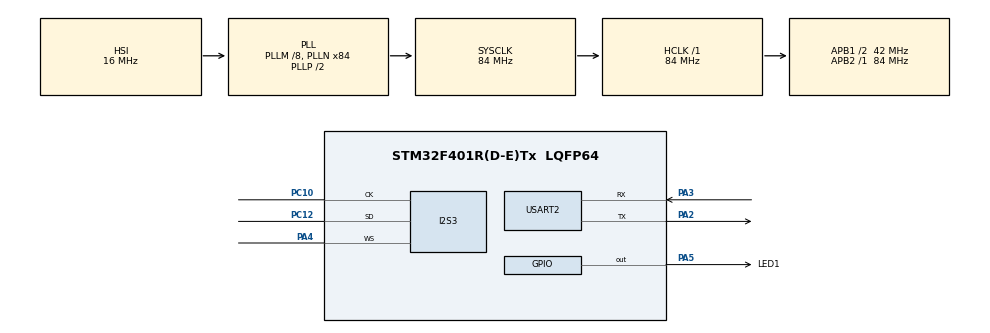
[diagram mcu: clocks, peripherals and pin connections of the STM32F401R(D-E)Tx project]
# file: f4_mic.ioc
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Dma.Request0=SPI3_RX
Dma.SPI3_RX.0.Direction=DMA_PERIPH_TO_MEMORY
Dma.SPI3_RX.0.FIFOMode=DMA_FIFOMODE_DISABLE
Dma.SPI3_RX.0.Instance=DMA1_Stream0
Dma.SPI3_RX.0.MemDataAlignment=DMA_MDATAALIGN_HALFWORD
Dma.SPI3_RX.0.MemInc=DMA_MINC_ENABLE
Dma.SPI3_RX.0.Mode=DMA_CIRCULAR
Dma.SPI3_RX.0.PeriphDataAlignment=DMA_PDATAALIGN_HALFWORD
Dma.SPI3_RX.0.PeriphInc=DMA_PINC_DISABLE
Dma.SPI3_RX.0.Priority=DMA_PRIORITY_LOW
I2S3.AudioFreq=I2S_AUDIOFREQ_48K
I2S3.CPOL=I2S_CPOL_LOW
I2S3.DataFormat=I2S_DATAFORMAT_24B
I2S3.ErrorAudioFreq=1.72 %
I2S3.FullDuplexMode=I2S_FULLDUPLEXMODE_DISABLE
I2S3.Instance=SPI$Index
I2S3.Mode=I2S_MODE_MASTER_RX
I2S3.RealAudioFreq=48.828 KHz
I2S3.Standard=I2S_STANDARD_PHILIPS
I2S3.VirtualMode=I2S_MODE_MASTER
Mcu.Family=STM32F4
Mcu.Name=STM32F401R(D-E)Tx
Mcu.Package=LQFP64
Mcu.UserConstants=PRINT_UART,$$_USART2_IP_HANDLE_$$
NVIC.DMA1_Stream0_IRQn=true\:0\:0\:false\:false\:true\:false\:true\:true
NVIC.PriorityGroup=NVIC_PRIORITYGROUP_4
PA13.Signal=SYS_JTMS-SWDIO
PA14.Signal=SYS_JTCK-SWCLK
PA2.Mode=Asynchronous
PA2.Signal=USART2_TX
PA3.Mode=Asynchronous
PA3.Signal=USART2_RX
PA4.Mode=Half_Duplex_Master
PA4.Signal=I2S3_WS
PA5.GPIO_Label=LED1
PA5.Signal=GPIO_Output
PC10.Mode=Half_Duplex_Master
PC10.Signal=I2S3_CK
PC12.Mode=Half_Duplex_Master
PC12.Signal=I2S3_SD
ProjectManager.HeapSize=0x200
ProjectManager.StackSize=0x400
ProjectManager.TargetToolchain=STM32CubeIDE
RCC.48MHZClocksFreq_Value=42000000
RCC.AHBFreq_Value=84000000
RCC.APB1CLKDivider=RCC_HCLK_DIV2
RCC.APB1Freq_Value=42000000
RCC.APB1TimFreq_Value=84000000
RCC.APB2Freq_Value=84000000
RCC.APB2TimFreq_Value=84000000
RCC.CortexFreq_Value=84000000
RCC.HCLKFreq_Value=84000000
RCC.HSE_VALUE=25000000
RCC.HSI_VALUE=16000000
RCC.LSE_VALUE=32768
RCC.PLLI2SN=50
RCC.PLLM=8
RCC.PLLN=84
RCC.SYSCLKFreq_VALUE=84000000
RCC.SYSCLKSource=RCC_SYSCLKSOURCE_PLLCLK
RCC.VCOOutputFreq_Value=168000000
USART2.VirtualMode=VM_ASYNC
VP_CRC_VS_CRC.Mode=CRC_Activate
board=custom

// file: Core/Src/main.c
/* USER CODE BEGIN Header */
/**
  ******************************************************************************
  * @file           : main.c
  * @brief          : Main program body
  ******************************************************************************
  * @attention
  *
  * Copyright (c) 2026 STMicroelectronics.
  * All rights reserved.
  *
  * This software is licensed under terms that can be found in the LICENSE file
  * in the root directory of this software component.
  * If no LICENSE file comes with this software, it is provided AS-IS.
  *
  ******************************************************************************
  */
/* USER CODE END Header */
#include "main.h"

/* USER CODE BEGIN Includes */
#include <stdio.h>
#include <string.h>
#include <stdbool.h>
#include "arm_math.h"
#include "hanning.h"
/* USER CODE END Includes */

/* USER CODE BEGIN PD */
#define ARM_MATH_CM4

#define DOUBLE_BUFFER_SIZE 8192
#define HALF_DOUBLE_BUFFER_SIZE DOUBLE_BUFFER_SIZE/2
#define FFT_SIZE  DOUBLE_BUFFER_SIZE/4 //2048
#define HALF_FFT_SIZE FFT_SIZE/2
#define SAMPLING_RATE 48828//48000

#define INT16_TO_FLOAT (1.0f / (32768.0f))
#define FLOAT_TO_INT16 (32768.0f)
#define INT24_TO_FLOAT (1.0f / (8388608.0f))
#define FLOAT_TO_INT24 (8388608.0f)
#define INT32_TO_FLOAT (1.0f / (21474836480.0f))
#define FLOAT_TO_INT32 (2147483648.0f)

//#define USE_FLOAT32
#if !defined(USE_FLOAT32)
#define USE_Q31
#endif

/* USER CODE END PD */

/* USER CODE BEGIN PM */
#ifdef __GNUC__
#define PUTCHAR_PROTOTYPE int __io_putchar(int ch)
#else
#define PUTCHAR_PROTOTYPE int fputc(int ch, FILE *f)
#endif
/* USER CODE END PM */

CRC_HandleTypeDef hcrc;

I2S_HandleTypeDef hi2s3;
DMA_HandleTypeDef hdma_spi3_rx;

UART_HandleTypeDef huart2;

/* USER CODE BEGIN PV */
uint16_t mic_data[DOUBLE_BUFFER_SIZE];
static volatile uint16_t * buf_ptr = &mic_data[0];

volatile bool data_ready_flag = false;
volatile bool buffer_filled = false;
volatile bool fft_done = false;

arm_rfft_fast_instance_f32 hfft;
uint8_t     ifft_flag                = 0;
const float  frequency_resolution    = (float)SAMPLING_RATE / (float)FFT_SIZE;

float fft_in[FFT_SIZE];
float fft_out[FFT_SIZE];
float fft_power[HALF_FFT_SIZE];
float fft_window[FFT_SIZE];
float fft_show[FFT_SIZE] = {0};

float32_t   maxValue;
uint32_t    maxIndex;
/* USER CODE END PV */

void SystemClock_Config(void);
static void MX_GPIO_Init(void);
static void MX_DMA_Init(void);
static void MX_I2S3_Init(void);
static void MX_USART2_UART_Init(void);
static void MX_CRC_Init(void);
/* USER CODE BEGIN PFP */
PUTCHAR_PROTOTYPE {
	HAL_UART_Transmit(&PRINT_UART, (uint8_t*) &ch, 1, 1000);

	return ch;
}

static void process_data(void);
static void find_max_frequency(void);
static void show_values(void);
/* USER CODE END PFP */

int main(void)
{

  /* MCU Configuration--------------------------------------------------------*/

  /* Reset of all peripherals, Initializes the Flash interface and the Systick. */
  HAL_Init();

  /* Configure the system clock */
  SystemClock_Config();

  /* Initialize all configured peripherals */
  MX_GPIO_Init();
  MX_DMA_Init();
  MX_I2S3_Init();
  MX_USART2_UART_Init();
  MX_CRC_Init();
  /* USER CODE BEGIN 2 */
  HAL_Delay(1000);
  HAL_GPIO_WritePin(LED1_GPIO_Port,LED1_Pin,GPIO_PIN_RESET);
  HAL_Delay(1000);
  HAL_GPIO_WritePin(LED1_GPIO_Port,LED1_Pin,GPIO_PIN_SET);
  //HAL_Delay(1000);

  arm_rfft_fast_init_f32(&hfft, FFT_SIZE);
  if(HAL_I2S_Receive_DMA(&hi2s3,mic_data,HALF_DOUBLE_BUFFER_SIZE) != HAL_OK){
	  Error_Handler();
  }

  arm_hanning_f32(fft_window,FFT_SIZE);

//  printf("[");
//  for(int i=0;i<FFT_SIZE;i++){
//	  printf("%f,",fft_window[i]);
//  }
//  printf("]\n");

  /* USER CODE END 2 */

  /* Infinite loop */
  /* USER CODE BEGIN WHILE */
  while (1)
  {
	  if(data_ready_flag){
		  process_data();
	  }

	  if(buffer_filled){
		  buffer_filled = false;
		  find_max_frequency();
	  }

	  if(fft_done){
		  fft_done = false;
		  show_values();
	  }

    /* USER CODE END WHILE */

  }
}

void SystemClock_Config(void)
{
  RCC_OscInitTypeDef RCC_OscInitStruct = {0};
  RCC_ClkInitTypeDef RCC_ClkInitStruct = {0};

  /** Configure the main internal regulator output voltage
  */
  __HAL_RCC_PWR_CLK_ENABLE();
  __HAL_PWR_VOLTAGESCALING_CONFIG(PWR_REGULATOR_VOLTAGE_SCALE2);

  /** Initializes the RCC Oscillators according to the specified parameters
  * in the RCC_OscInitTypeDef structure.
  */
  RCC_OscInitStruct.OscillatorType = RCC_OSCILLATORTYPE_HSI;
  RCC_OscInitStruct.HSIState = RCC_HSI_ON;
  RCC_OscInitStruct.HSICalibrationValue = RCC_HSICALIBRATION_DEFAULT;
  RCC_OscInitStruct.PLL.PLLState = RCC_PLL_ON;
  RCC_OscInitStruct.PLL.PLLSource = RCC_PLLSOURCE_HSI;
  RCC_OscInitStruct.PLL.PLLM = 8;
  RCC_OscInitStruct.PLL.PLLN = 84;
  RCC_OscInitStruct.PLL.PLLP = RCC_PLLP_DIV2;
  RCC_OscInitStruct.PLL.PLLQ = 4;
  if (HAL_RCC_OscConfig(&RCC_OscInitStruct) != HAL_OK)
  {
    Error_Handler();
  }

  /** Initializes the CPU, AHB and APB buses clocks
  */
  RCC_ClkInitStruct.ClockType = RCC_CLOCKTYPE_HCLK|RCC_CLOCKTYPE_SYSCLK
                              |RCC_CLOCKTYPE_PCLK1|RCC_CLOCKTYPE_PCLK2;
  RCC_ClkInitStruct.SYSCLKSource = RCC_SYSCLKSOURCE_PLLCLK;
  RCC_ClkInitStruct.AHBCLKDivider = RCC_SYSCLK_DIV1;
  RCC_ClkInitStruct.APB1CLKDivider = RCC_HCLK_DIV2;
  RCC_ClkInitStruct.APB2CLKDivider = RCC_HCLK_DIV1;

  if (HAL_RCC_ClockConfig(&RCC_ClkInitStruct, FLASH_LATENCY_2) != HAL_OK)
  {
    Error_Handler();
  }
}

static void MX_CRC_Init(void)
{

  hcrc.Instance = CRC;
  if (HAL_CRC_Init(&hcrc) != HAL_OK)
  {
    Error_Handler();
  }

}

static void MX_I2S3_Init(void)
{

  hi2s3.Instance = SPI3;
  hi2s3.Init.Mode = I2S_MODE_MASTER_RX;
  hi2s3.Init.Standard = I2S_STANDARD_PHILIPS;
  hi2s3.Init.DataFormat = I2S_DATAFORMAT_24B;
  hi2s3.Init.MCLKOutput = I2S_MCLKOUTPUT_DISABLE;
  hi2s3.Init.AudioFreq = I2S_AUDIOFREQ_48K;
  hi2s3.Init.CPOL = I2S_CPOL_LOW;
  hi2s3.Init.ClockSource = I2S_CLOCK_PLL;
  hi2s3.Init.FullDuplexMode = I2S_FULLDUPLEXMODE_DISABLE;
  if (HAL_I2S_Init(&hi2s3) != HAL_OK)
  {
    Error_Handler();
  }

}

static void MX_USART2_UART_Init(void)
{

  huart2.Instance = USART2;
  huart2.Init.BaudRate = 115200;
  huart2.Init.WordLength = UART_WORDLENGTH_8B;
  huart2.Init.StopBits = UART_STOPBITS_1;
  huart2.Init.Parity = UART_PARITY_NONE;
  huart2.Init.Mode = UART_MODE_TX_RX;
  huart2.Init.HwFlowCtl = UART_HWCONTROL_NONE;
  huart2.Init.OverSampling = UART_OVERSAMPLING_16;
  if (HAL_UART_Init(&huart2) != HAL_OK)
  {
    Error_Handler();
  }

}

static void MX_DMA_Init(void)
{

  /* DMA controller clock enable */
  __HAL_RCC_DMA1_CLK_ENABLE();

  /* DMA interrupt init */
  /* DMA1_Stream0_IRQn interrupt configuration */
  HAL_NVIC_SetPriority(DMA1_Stream0_IRQn, 0, 0);
  HAL_NVIC_EnableIRQ(DMA1_Stream0_IRQn);

}

static void MX_GPIO_Init(void)
{
  GPIO_InitTypeDef GPIO_InitStruct = {0};

  /* GPIO Ports Clock Enable */
  __HAL_RCC_GPIOC_CLK_ENABLE();
  __HAL_RCC_GPIOH_CLK_ENABLE();
  __HAL_RCC_GPIOA_CLK_ENABLE();
  __HAL_RCC_GPIOB_CLK_ENABLE();
  __HAL_RCC_GPIOD_CLK_ENABLE();

  /*Configure GPIO pin Output Level */
  HAL_GPIO_WritePin(LED1_GPIO_Port, LED1_Pin, GPIO_PIN_RESET);

  /*Configure GPIO pins : PC13 PC14 PC15 PC0
                           PC1 PC2 PC3 PC4
                           PC5 PC6 PC7 PC8
                           PC9 PC11 */
  GPIO_InitStruct.Pin = GPIO_PIN_13|GPIO_PIN_14|GPIO_PIN_15|GPIO_PIN_0
                          |GPIO_PIN_1|GPIO_PIN_2|GPIO_PIN_3|GPIO_PIN_4
                          |GPIO_PIN_5|GPIO_PIN_6|GPIO_PIN_7|GPIO_PIN_8
                          |GPIO_PIN_9|GPIO_PIN_11;
  GPIO_InitStruct.Mode = GPIO_MODE_ANALOG;
  GPIO_InitStruct.Pull = GPIO_NOPULL;
  HAL_GPIO_Init(GPIOC, &GPIO_InitStruct);

  /*Configure GPIO pins : PH0 PH1 */
  GPIO_InitStruct.Pin = GPIO_PIN_0|GPIO_PIN_1;
  GPIO_InitStruct.Mode = GPIO_MODE_ANALOG;
  GPIO_InitStruct.Pull = GPIO_NOPULL;
  HAL_GPIO_Init(GPIOH, &GPIO_InitStruct);

  /*Configure GPIO pins : PA0 PA1 PA6 PA7
                           PA8 PA9 PA10 PA11
                           PA12 PA15 */
  GPIO_InitStruct.Pin = GPIO_PIN_0|GPIO_PIN_1|GPIO_PIN_6|GPIO_PIN_7
                          |GPIO_PIN_8|GPIO_PIN_9|GPIO_PIN_10|GPIO_PIN_11
                          |GPIO_PIN_12|GPIO_PIN_15;
  GPIO_InitStruct.Mode = GPIO_MODE_ANALOG;
  GPIO_InitStruct.Pull = GPIO_NOPULL;
  HAL_GPIO_Init(GPIOA, &GPIO_InitStruct);

  /*Configure GPIO pin : LED1_Pin */
  GPIO_InitStruct.Pin = LED1_Pin;
  GPIO_InitStruct.Mode = GPIO_MODE_OUTPUT_PP;
  GPIO_InitStruct.Pull = GPIO_NOPULL;
  GPIO_InitStruct.Speed = GPIO_SPEED_FREQ_LOW;
  HAL_GPIO_Init(LED1_GPIO_Port, &GPIO_InitStruct);

  /*Configure GPIO pins : PB0 PB1 PB2 PB10
                           PB12 PB13 PB14 PB15
                           PB3 PB4 PB5 PB6
                           PB7 PB8 PB9 */
  GPIO_InitStruct.Pin = GPIO_PIN_0|GPIO_PIN_1|GPIO_PIN_2|GPIO_PIN_10
                          |GPIO_PIN_12|GPIO_PIN_13|GPIO_PIN_14|GPIO_PIN_15
                          |GPIO_PIN_3|GPIO_PIN_4|GPIO_PIN_5|GPIO_PIN_6
                          |GPIO_PIN_7|GPIO_PIN_8|GPIO_PIN_9;
  GPIO_InitStruct.Mode = GPIO_MODE_ANALOG;
  GPIO_InitStruct.Pull = GPIO_NOPULL;
  HAL_GPIO_Init(GPIOB, &GPIO_InitStruct);

  /*Configure GPIO pin : PD2 */
  GPIO_InitStruct.Pin = GPIO_PIN_2;
  GPIO_InitStruct.Mode = GPIO_MODE_ANALOG;
  GPIO_InitStruct.Pull = GPIO_NOPULL;
  HAL_GPIO_Init(GPIOD, &GPIO_InitStruct);

}

/* USER CODE BEGIN 4 */
/**
 * @brief Reform incoming data from microphone into float or Q.15, to prepare them for FFT
 */
static void process_data(void){
#if 1
	static int index = 0;
	for(size_t i=0; i < HALF_DOUBLE_BUFFER_SIZE; i=i+4){
#if defined(USE_FLOAT32)
		float left_channel = (float) ((int32_t) ((int32_t)buf_ptr[i]<<16)|buf_ptr[i+1]);
		float right_channel = (float) ((int32_t) ((int32_t)buf_ptr[i+2]<<16)|buf_ptr[i+3]);
#elif defined(USE_Q31)
		float left_channel = (float) INT32_TO_FLOAT * ((((int32_t)buf_ptr[i]<<16)|buf_ptr[i+1])<<8);
		float right_channel = (float) INT32_TO_FLOAT *((((int32_t)buf_ptr[i+2]<<16)|buf_ptr[i+3])<<8);
#endif

		fft_in[index] = left_channel + right_channel;
		index++;
	}
#endif
	data_ready_flag = false;

	if(index == FFT_SIZE){
		buffer_filled = true;
		index = 0;
	}
}

/**
 * @brief Apply Fast Fourier Trasnformation to incoming data, compute magnitude and choose the highest index bin
 */
static void find_max_frequency(void){

	float fft_in_filtered[FFT_SIZE];

	//Apply windowing to time data
	arm_mult_f32(fft_in,hanning_window,fft_in_filtered,FFT_SIZE);

	//Apply (Real) Fast fft to input array
	arm_rfft_fast_f32(&hfft, fft_in_filtered, fft_out, ifft_flag);
	//arm_rfft_fast_f32(&hfft, fft_in, fft_out, ifft_flag);

	//Convert complex array from output buffer to magnitude
	arm_cmplx_mag_f32(fft_out, fft_power, HALF_FFT_SIZE);

	//Compute maximum value from previous array
    arm_max_f32(fft_power, HALF_FFT_SIZE, &maxValue, &maxIndex);

    fft_done = true;
}

/**
 * @brief Display the results of the frequency transformation
 */
static void show_values(void){
//    printf("\r\n");
//    printf("max power: %f\r\n", maxValue);
//    printf("max index: %lu\r\n", maxIndex);
//    if(maxValue <= 10){
//    	printf("frequency: None\r\n");
//    }else{
//    	printf("frequency: %f\r\n", (maxIndex * frequency_resolution));
//    }
#if 1
	char ch[10000] = {0};
	int len=0;
	len+= snprintf(ch+len,sizeof(ch) - len,"[");
	for(int i=0;i<HALF_FFT_SIZE;i++){
		len+= snprintf(ch+len,sizeof(ch) - len,"%.1f,",fft_power[i]);
	}
	snprintf(ch+len-1,sizeof(ch)-len,"]\n");

	printf("%s",ch);
#else
	printf("[1,2,3,4,5,4,3,2,1,2]\n");
#endif

}

void HAL_I2S_RxHalfCpltCallback(I2S_HandleTypeDef *hi2s){
	// Choose first half of double buffer
	buf_ptr = &mic_data[0];

	data_ready_flag = true;
}

void HAL_I2S_RxCpltCallback(I2S_HandleTypeDef *hi2s){
	// Choose second half of double buffer
	buf_ptr = &mic_data[HALF_DOUBLE_BUFFER_SIZE];

	data_ready_flag = true;
}
/* USER CODE END 4 */

void Error_Handler(void)
{
  __disable_irq();
  while (1)
  {
  }
}
